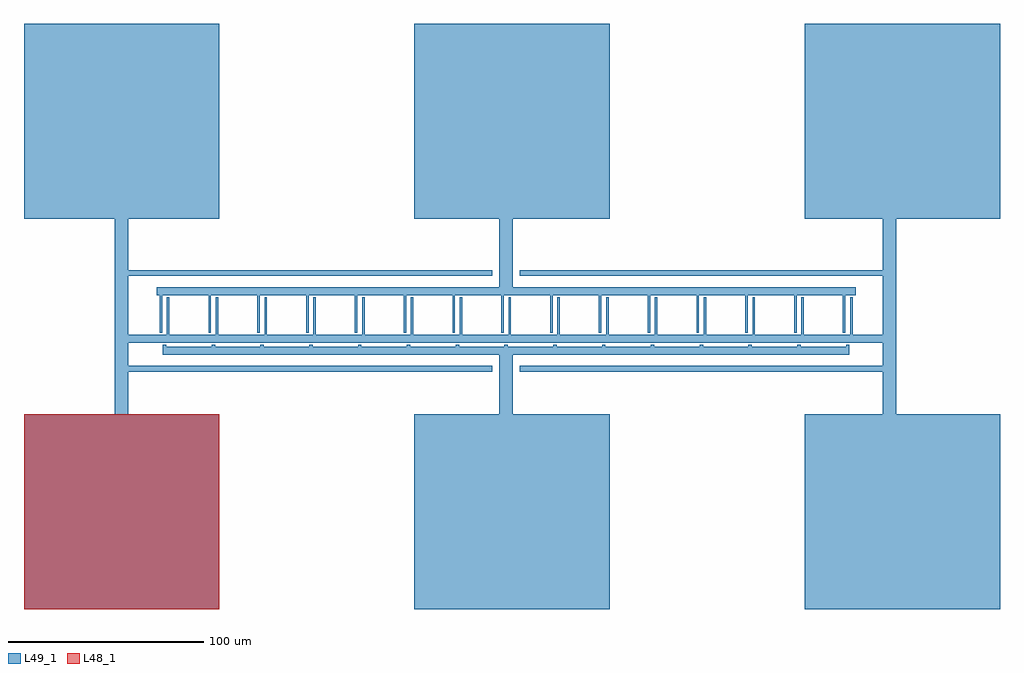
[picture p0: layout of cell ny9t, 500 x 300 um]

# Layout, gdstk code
import gdstk
lib = gdstk.Library(unit=1e-6, precision=1e-11)
def R(c, l, rs):  # rectangles x0, y0, x1, y1
    for r in rs: c.add(gdstk.rectangle(r[:2], r[2:], *l))
def A(c, l, x, y, w, h, nx, ny, dx, dy):  # array of equal rectangles
    R(c, l, [(x+i*dx, y+j*dy, x+i*dx+w, y+j*dy+h) for i in range(nx) for j in range(ny)])
L48_1 = (48, 1)
L49_1 = (49, 1)

ny9t_dcpa = lib.new_cell('ny9t_dcpa')
R(ny9t_dcpa, L49_1, [(0,0,100,100)])

ny9t_subp = lib.new_cell('ny9t_subp')
R(ny9t_subp, L48_1, [(0,0,100,100)])
R(ny9t_subp, L49_1, [(0,0,100,100)])

ny9t = lib.new_cell('ny9t')
A(ny9t, L49_1, 71.15, 134.4, 1.7, 1.25, 15, 1, 25, 0)
A(ny9t, L49_1, 73.25, 140.65, 1.2, 19.3, 15, 1, 25, 0)
A(ny9t, L49_1, 69.55, 141.65, 1.2, 19.3, 15, 1, 25, 0)
R(ny9t, L49_1, [(45.3,45.3,55.64,55.64), (244.83,45.3,255.17,55.64), (444.36,46.33,454.7,56.67), (243.5,92.15,250.5,130.4), (46.5,95.45,53.5,121.65), (439.95,96.5,446.95,121.65), (46.5,121.65,240,124.65), (254,121.65,446.95,124.65), (46.5,124.65,53.5,136.65), (439.95,124.65,446.95,136.65), (71.15,130.4,422.85,134.4), (72.19,131.13,74.46,133.62), (419.79,131.36,421.82,133.84), (46.5,136.65,446.95,140.65), (46.5,140.65,53.5,170.8), (439.95,140.65,446.95,170.8), (68,160.95,426,164.95), (69.03,162.11,70.61,164.15), (422.5,162.11,424.76,164.15), (243.45,164.95,250.45,205), (46.5,170.8,240,173.8), (254,170.8,446.95,173.8), (46.5,173.8,53.5,205.15), (439.95,173.8,446.95,204), (45.3,245.86,56.67,255.17), (444.36,245.86,454.7,256.2), (244.83,246.9,255.17,257.24)])
ny9t.add(gdstk.Reference(ny9t_dcpa, (0,200)))
ny9t.add(gdstk.Reference(ny9t_dcpa, (200,200)))
ny9t.add(gdstk.Reference(ny9t_dcpa, (200,0)))
ny9t.add(gdstk.Reference(ny9t_dcpa, (400,0)))
ny9t.add(gdstk.Reference(ny9t_dcpa, (400,200)))
ny9t.add(gdstk.Reference(ny9t_subp, (0,0)))

lib.write_gds('ny9t.gds')
